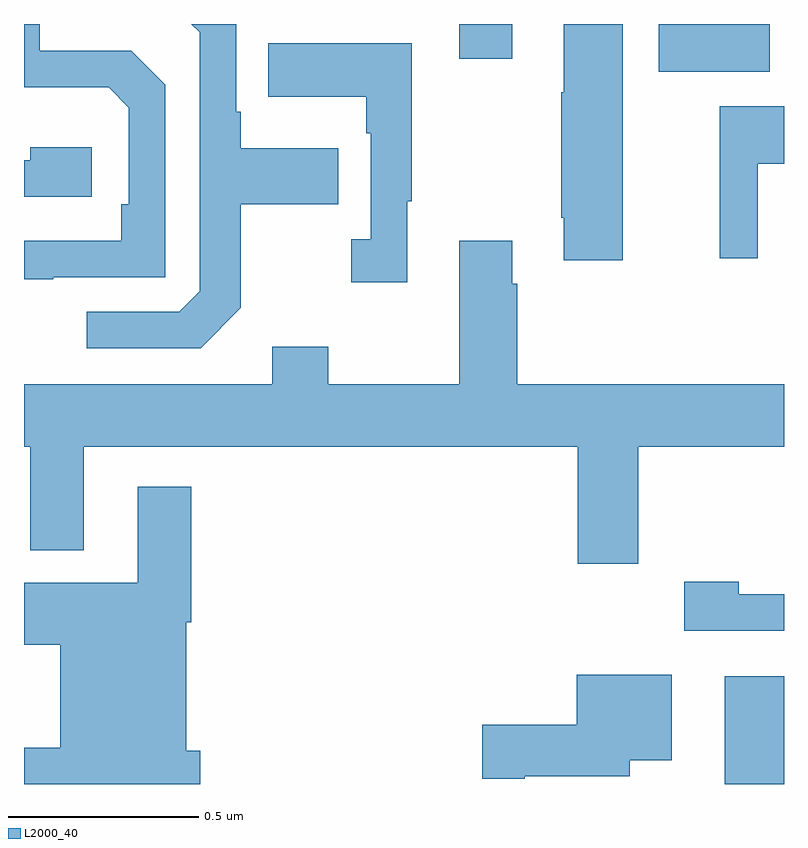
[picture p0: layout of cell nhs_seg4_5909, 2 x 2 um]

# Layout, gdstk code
import gdstk
lib = gdstk.Library(unit=1e-6, precision=1e-09)
def R(c, l, rs):  # rectangles x0, y0, x1, y1
    for r in rs: c.add(gdstk.rectangle(r[:2], r[2:], *l))
def P(c, l, *ps):  # polygons
    for p in ps: c.add(gdstk.Polygon(p, *l))
L2000_40 = (2000, 40)

nhs_seg4_5909 = lib.new_cell('nhs_seg4_5909')
R(nhs_seg4_5909, L2000_40, [(184.844,827.9,185,828.184), (184.67,829.775,184.963,829.9), (184.145,829.809,184.285,829.9)])
P(nhs_seg4_5909, L2000_40, [(183.077,829.233),(183.372,829.233),(183.372,829.74),(183.282,829.83),(183.042,829.83),(183.042,829.9),(183,829.9),(183,829.733),(183.223,829.733),(183.276,829.68),(183.276,829.426),(183.256,829.426),(183.256,829.329),(183,829.329),(183,829.228),(183.077,829.228)],
  [(183.571,829.153),(183.571,829.426),(183.827,829.426),(183.827,829.573),(183.571,829.573),(183.571,829.669),(183.558,829.669),(183.558,829.9),(183.44,829.9),(183.462,829.878),(183.462,829.197),(183.408,829.143),(183.165,829.143),(183.165,829.047),(183.465,829.047)],
  [(184.576,829.9),(184.421,829.9),(184.421,829.721),(184.414,829.721),(184.414,829.39),(184.421,829.39),(184.421,829.278),(184.576,829.278)],
  [(184.009,829.433),(184.021,829.433),(184.021,829.849),(183.643,829.849),(183.643,829.709),(183.9,829.709),(183.9,829.613),(183.912,829.613),(183.912,829.334),(183.861,829.334),(183.861,829.221),(184.009,829.221)],
  [(184.931,829.532),(185,829.532),(185,829.684),(184.831,829.684),(184.831,829.284),(184.931,829.284)],
  [(183.178,829.576),(183.017,829.576),(183.017,829.542),(183,829.542),(183,829.446),(183.178,829.446)],
  [(184.617,828.788),(185,828.788),(185,828.952),(184.298,828.952),(184.298,829.217),(184.285,829.217),(184.285,829.33),(184.145,829.33),(184.145,828.952),(183.801,828.952),(183.801,829.051),(183.653,829.051),(183.653,828.952),(183,828.952),(183,828.788),(183.017,828.788),(183.017,828.515),(183.157,828.515),(183.157,828.788),(184.457,828.788),(184.457,828.48),(184.617,828.48)],
  [(183.464,827.988),(183.427,827.988),(183.427,828.326),(183.44,828.326),(183.44,828.682),(183.299,828.682),(183.299,828.43),(183,828.43),(183,828.266),(183.095,828.266),(183.095,827.996),(183,827.996),(183,827.9),(183.464,827.9)],
  [(185,828.399),(184.881,828.399),(184.881,828.432),(184.737,828.432),(184.737,828.303),(185,828.303)],
  [(184.318,827.921),(184.594,827.921),(184.594,827.963),(184.705,827.963),(184.705,828.187),(184.454,828.187),(184.454,828.056),(184.206,828.056),(184.206,827.914),(184.318,827.914)])

lib.write_gds('nhs_seg4_5909.gds')
